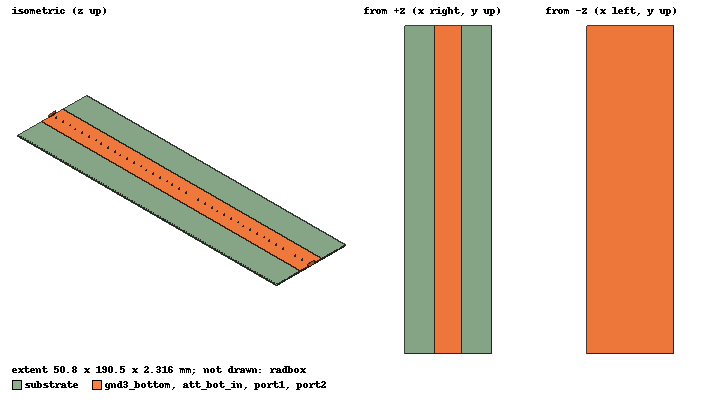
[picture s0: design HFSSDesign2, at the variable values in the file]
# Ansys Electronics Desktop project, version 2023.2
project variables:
  $w = 50.8mm
  $l = 190.5mm
  $w_lin = 0.53789169mm  # optimise 0.52mm..1.56mm
  $h_sig = 0.03556mm
  $w_gnd_top = 7.5mm
  $d = 0.11434763mm  # optimise 0.2mm..0.6mm
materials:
  vacuum: permittivity=1
  FR4_epoxy: permittivity=4.4 dielectric_loss_tangent=0.02
  air: permittivity=1.0006 permeability=1.0000004
  rhodium: conductivity=22200000
  Rogers RO4350 (tm): permittivity=3.66 dielectric_loss_tangent=0.004
  copper: permeability=0.999991 conductivity=58000000
  solder: conductivity=7000000

design HFSSDesign2 (HFSS, HFSS Modal Network, model units mm)
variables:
  w = 50.8mm
  l = 190.5mm
  h_sub = 0.508mm
  h_gnd3 = 0.03556mm
  w_lin = 1.04mm
  h_sig = 0.03556mm
  w_gnd_top = 7.5mm
  h_ges = h_gnd3+h_sig+h_sub
  pos_gnd1 = w/2-$w_lin/2-$d-w_gnd_top
  pos_lin = w/2-$w_lin/2
  pos_gnd2 = w/2+$w_lin/2+$d
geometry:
  radbox [air] = box(corner=(-15mm, 0mm, -15mm), size=(w+30mm, l, h_ges+30mm))
  gnd3_bottom [copper] = box(corner=(0mm, 0mm, 0mm), size=(w, l, h_gnd3))
  substrate [Rogers RO4350 (tm)] = box(corner=(0mm, 0mm, h_gnd3), size=(w, l, h_sub))
  gnd1_top = box(corner=(pos_gnd1, 0mm, h_gnd3+h_sub), size=(w_gnd_top, l, h_sig))
  gnd2_top = box(corner=(pos_gnd2, 0mm, h_gnd3+h_sub), size=(w_gnd_top, l, h_sig))
  port1 = rectangle(corner=(w/2-$w_lin*5, 0mm, 0mm), z_size=h_ges*4, x_size=$w_lin*10)
  port2 = rectangle(corner=(w/2-$w_lin*5, l, 0mm), z_size=h_ges*4, x_size=$w_lin*10)
  gnd1_top.unite(gnd2_top)
  via1 [copper] = cylinder(axis=Z, base_centre=(23.32mm, 2mm, h_gnd3), radius=0.2mm, height=h_sub)
  via1_1..via1_78 [copper] = via1.duplicate_along_line(step=(0mm, 2.4mm, 0mm), total=300)  # copies kept: 1..78
  via2 [copper] = cylinder(axis=Z, base_centre=(27.48mm, 2mm, h_gnd3), radius=0.2mm, height=h_sub)
  via2_1..via2_78 [copper] = via2.duplicate_along_line(step=(0mm, 2.4mm, 0mm), total=79)
  coordinate_system RelativeCS1 = origin=(17.516707mm, 0mm, 0.57912mm) x=(1mm, 0mm, 0mm) y=(0mm, 1mm, 0mm)
  coordinate_system RelativeCS2 = origin=(50.8mm, 0mm, 0mm) x=(0mm, 10mm, 0mm) y=(-8mm, 0mm, 0mm)
  line2 = box(corner=(25.66895mm, 0mm, h_gnd3+h_sub), size=(27.9575mm, $w_lin, h_sig)) in RelativeCS2
  line2.move(-16.07277mm, 24.131058mm, -1.110223e-16mm) in RelativeCS2
  line6 = box(corner=(25.60845mm, 1mm, h_gnd3+h_sub), size=(52.929mm, $w_lin, h_sig)) in RelativeCS2
  line6.move(2.63205mm, 24.131058mm, -1.110223e-16mm) in RelativeCS2
  line2.move(-9.59618mm, 1mm, 1.110223e-16mm) in RelativeCS2
  att_in = polyline(z=h_ges, xy in mm: (27.9575, 25.66895) (28.099, 25.55) (28.099, 25.25) (27.9575, 25.13105) (27.9575, 25.66895), closed, covered) in RelativeCS2
  att_in.thicken(h_sig)
  att_top_in = polyline(z=h_ges-h_sig, xy in mm: (28.099, 25.75) (28.099, 25.7833) (27.9575, 25.7833) (28.099, 25.75), closed, covered) in RelativeCS2
  att_top_in.thicken(h_sig)
  att_bot_in [copper] = polyline(z=h_ges-h_sig, xy in mm: (28.099, 25.75) (28.099, 25.7833) (27.9575, 25.7833) (28.099, 25.75), closed, covered) in RelativeCS2
  att_bot_in.thicken(h_sig)
  att_bot_in.mirror(point=(27.9575mm, 25.7833mm, 0.03556mm), normal=(1mm, 0mm, 0mm)) in RelativeCS2
  att_bot_in.move(0.2832mm, 7.1054274e-15mm, 0mm) in RelativeCS2
  att_bot_in.mirror(point=(28.0991mm, 25.7833mm, 0.03556mm), normal=(0mm, -1mm, 0mm)) in RelativeCS2
  att_bot_in.move(0mm, -0.76658696mm, 0mm) in RelativeCS2
  att_bot_in.mirror(point=(28.099mm, 25.016713mm, 0.03556mm), normal=(1mm, -5.0144159e-14mm, 0mm)) in RelativeCS2
  att_out = polyline(z=h_ges, xy in mm: (27.9575, 25.66895) (28.099, 25.55) (28.099, 25.25) (27.9575, 25.13105) (27.9575, 25.66895), closed, covered) in RelativeCS2
  att_out.thicken(h_sig)
  att_out.mirror(point=(27.9575mm, 25.66895mm, 0.57912mm), normal=(1mm, 6.2768793e-14mm, 0mm)) in RelativeCS2
  att_out.move(0.283mm, 1.4210855e-14mm, -1.110223e-16mm) in RelativeCS2
  lin3 = rectangle(corner=(190.5mm, 25.66895mm, h_ges-h_sig), x_size=-109.0475mm, y_size=-0.5379mm) in RelativeCS2
  lin3.thicken(h_sig)
  att_top_out = polyline(z=h_ges-h_sig, xy in mm: (28.099, 25.75) (28.099, 25.7833) (27.9575, 25.7833) (28.099, 25.75), closed, covered) in RelativeCS2
  att_top_out.thicken(h_sig)
  att_top_out.mirror(point=(27.9575mm, 25.7833mm, 0.57912mm), normal=(1mm, 0mm, 0mm)) in RelativeCS2
  att_top_out.move(0.283mm, 7.1054274e-15mm, 0mm) in RelativeCS2
  att_bot_out = polyline(z=h_ges-h_sig, xy in mm: (28.099, 25.75) (28.099, 25.7833) (27.9575, 25.7833) (28.099, 25.75), closed, covered) in RelativeCS2
  att_bot_out.thicken(h_sig)
  att_bot_out.mirror(point=(27.9575mm, 25.7833mm, 0.03556mm), normal=(1mm, 0mm, 0mm)) in RelativeCS2
  att_bot_out.move(0.2832mm, 7.1054274e-15mm, 0mm) in RelativeCS2
  att_bot_out.mirror(point=(28.0991mm, 25.7833mm, 0.03556mm), normal=(0mm, -1mm, 0mm)) in RelativeCS2
  att_bot_out.move(0mm, -0.76658696mm, 0mm) in RelativeCS2
  att_bot_out.mirror(point=(28.099mm, 25.016713mm, 0.03556mm), normal=(1mm, -5.0144159e-14mm, 0mm)) in RelativeCS2
  att_bot_out.mirror(point=(27.9573mm, 25.016713mm, 0.57912mm), normal=(1mm, -1.0043007e-13mm, 0mm)) in RelativeCS2
  att_bot_out.move(0.283mm, -2.4868996e-14mm, 0mm) in RelativeCS2
  att_bot_in.unite(att_bot_out, att_in, att_out, att_top_in, att_top_out)
  att_bot_in1 = polyline(z=h_ges-h_sig, xy in mm: (28.099, 25.75) (28.099, 25.7833) (27.9575, 25.7833) (28.099, 25.75), closed, covered) in RelativeCS2
  att_bot_in1.thicken(h_sig)
  att_bot_in1.mirror(point=(27.9575mm, 25.7833mm, 0.03556mm), normal=(1mm, 0mm, 0mm)) in RelativeCS2
  att_bot_in1.move(0.2832mm, 7.1054274e-15mm, 0mm) in RelativeCS2
  att_bot_in1.mirror(point=(28.0991mm, 25.7833mm, 0.03556mm), normal=(0mm, -1mm, 0mm)) in RelativeCS2
  att_bot_in1.move(0mm, -0.76658696mm, 0mm) in RelativeCS2
  att_bot_in1.mirror(point=(28.099mm, 25.016713mm, 0.03556mm), normal=(1mm, -5.0144159e-14mm, 0mm)) in RelativeCS2
  att_bot_out1 = polyline(z=h_ges-h_sig, xy in mm: (28.099, 25.75) (28.099, 25.7833) (27.9575, 25.7833) (28.099, 25.75), closed, covered) in RelativeCS2
  att_bot_out1.thicken(h_sig)
  att_bot_out1.mirror(point=(27.9575mm, 25.7833mm, 0.03556mm), normal=(1mm, 0mm, 0mm)) in RelativeCS2
  att_bot_out1.move(0.2832mm, 7.1054274e-15mm, 0mm) in RelativeCS2
  att_bot_out1.mirror(point=(28.0991mm, 25.7833mm, 0.03556mm), normal=(0mm, -1mm, 0mm)) in RelativeCS2
  att_bot_out1.move(0mm, -0.76658696mm, 0mm) in RelativeCS2
  att_bot_out1.mirror(point=(28.099mm, 25.016713mm, 0.03556mm), normal=(1mm, -5.0144159e-14mm, 0mm)) in RelativeCS2
  att_bot_out1.mirror(point=(27.9573mm, 25.016713mm, 0.57912mm), normal=(1mm, -1.0043007e-13mm, 0mm)) in RelativeCS2
  att_bot_out1.move(0.283mm, -2.4868996e-14mm, 0mm) in RelativeCS2
  att_in1 = polyline(z=h_ges, xy in mm: (27.9575, 25.66895) (28.099, 25.55) (28.099, 25.25) (27.9575, 25.13105) (27.9575, 25.66895), closed, covered) in RelativeCS2
  att_in1.thicken(h_sig)
  att_out1 = polyline(z=h_ges, xy in mm: (27.9575, 25.66895) (28.099, 25.55) (28.099, 25.25) (27.9575, 25.13105) (27.9575, 25.66895), closed, covered) in RelativeCS2
  att_out1.thicken(h_sig)
  att_out1.mirror(point=(27.9575mm, 25.66895mm, 0.57912mm), normal=(1mm, 6.2768793e-14mm, 0mm)) in RelativeCS2
  att_out1.move(0.283mm, 1.4210855e-14mm, -1.110223e-16mm) in RelativeCS2
  att_top_in1 = polyline(z=h_ges-h_sig, xy in mm: (28.099, 25.75) (28.099, 25.7833) (27.9575, 25.7833) (28.099, 25.75), closed, covered) in RelativeCS2
  att_top_in1.thicken(h_sig)
  att_top_out1 = polyline(z=h_ges-h_sig, xy in mm: (28.099, 25.75) (28.099, 25.7833) (27.9575, 25.7833) (28.099, 25.75), closed, covered) in RelativeCS2
  att_top_out1.thicken(h_sig)
  att_top_out1.mirror(point=(27.9575mm, 25.7833mm, 0.57912mm), normal=(1mm, 0mm, 0mm)) in RelativeCS2
  att_top_out1.move(0.283mm, 7.1054274e-15mm, 0mm) in RelativeCS2
  att_bot_in1.unite(att_bot_out1, att_in1, att_out1, att_top_in1, att_top_out1)
  att_bot_in1.move(53.212mm, 1.7763568e-14mm, 0mm) in RelativeCS2
  att_bot_in.unite(att_bot_in1, gnd1_top, lin3, line2, line6)
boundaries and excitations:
  Rad1: Radiation Objects=radbox
  1: Wave Port Objects=port1 WavePortType=Modal NumModes=1 Modes{Mode1{CharImp=Zpi RenormImp=50ohm}}
  2: Wave Port Objects=port2 WavePortType=Modal NumModes=1 Modes{Mode1{CharImp=Zpi RenormImp=50ohm}}
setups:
  Setup1: HfssDriven Frequency=10GHz MaxDeltaS=0.02 MaximumPasses=20 MinimumPasses=1 MinimumConvergedPasses=1 PercentRefinement=30 BasisOrder=1 PortAccuracy=2 DrivenSolverType="Direct Solver"
    sweep Sweep_fast: 10GHz to 20GHz step 0.3GHz; Type=Discrete
    sweep Sweep: 1GHz to 20GHz step 0.1GHz; Type=Discrete
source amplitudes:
  1:1: 1W 0deg
  2:1: 0W 0deg
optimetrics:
  OptimizationSetup2: Optimization Optimizer="Quasi Newton" AnalysisStopOptions{StopForNumIteration MaxNumIteration=1000 MinNumIteration=10} CostFuncNormType=L2 Acceptable_Cost=0 Noise=0.0001 UpdateDesignWhenDone
    vary $d: Min=0.1mm Max=0.6mm MinStep=0.004mm MaxStep=0.04mm MinFocus=0.2mm MaxFocus=0.6mm start=0.125mm
    vary $w_lin: Min=0.3556mm Max=1.56mm MinStep=0.0104mm MaxStep=0.104mm MinFocus=0.52mm MaxFocus=1.56mm start=0.56704mm
    goal dB(S(1,1)) <= -30 weight 0.5 on Setup1 : Sweep_fast at Freq 1GHz to 20GHz
    goal dB(S(2,2)) <= -30 weight 0.5 on Setup1 : Sweep_fast at Freq 1GHz to 20GHz
    goal mag(Zo(1)) == 50 weight 1 on Setup1 : Sweep_fast at Freq 10GHz to 19.9GHz
    goal re(Zo(2)) == 50 weight 1 on Setup1 : Sweep_fast at Freq 10GHz to 19.9GHz
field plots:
  Mag_E1: E Field in substrate on Setup1 : LastAdaptive at Freq=10GHz Phase=0deg
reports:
  S Parameter Plot 1: dB(S(1,1)), dB(S(2,1)), dB(S(1,2)), dB(S(2,2)) vs Freq on Setup1 : Sweep [w_gnd_top=all]
  Port Zo Plot 1: mag(Zo(1)), mag(Zo(2)) vs Freq on Setup1 : Sweep [w_gnd_top=all]
